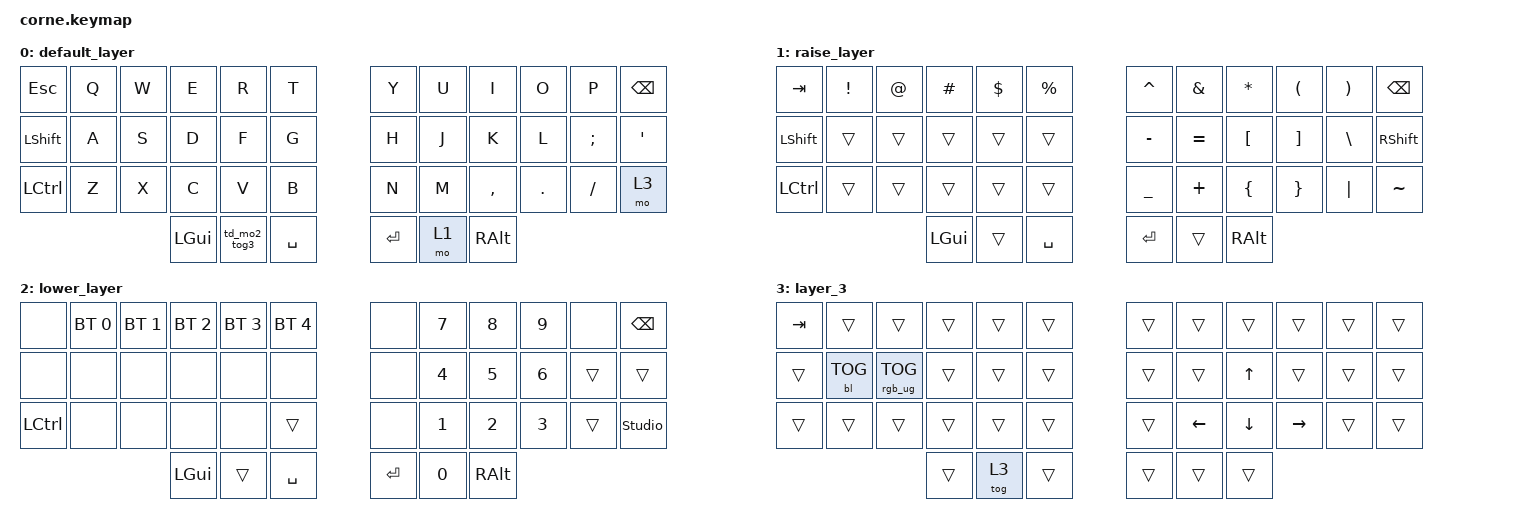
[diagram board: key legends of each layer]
/*
 * Copyright (c) 2020 The ZMK Contributors
 *
 * SPDX-License-Identifier: MIT
 */

#include <behaviors.dtsi>
#include <dt-bindings/zmk/backlight.h>
#include <dt-bindings/zmk/bt.h>
#include <dt-bindings/zmk/keys.h>
#include <dt-bindings/zmk/rgb.h>

/ {
    behaviors {
        /* * Custom Tap Dance:
         * Single Tap/Hold: Layer 2 (Numbers)
         * Double Tap: Toggle Layer 3 (RGB/Navegation)
         */
        td_mo2_tog3: tap_dance_layers {
            compatible = "zmk,behavior-tap-dance";
            label = "TD_LAYERS";
            #binding-cells = <0>;
            tapping-term-ms = <250>; // Increased slightly to make double-tapping easier
            // We use &sl (Sticky Layer) because &mo inside tap-dance 
            // usually breaks the 'hold' functionality.
            bindings = <&sl 2>, <&tog 3>;
        };
    };
    
    keymap {
        compatible = "zmk,keymap";

        default_layer {
            // -----------------------------------------------------------------------------------------
            // |  ESC |  Q  |  W  |  E  |  R  |  T  |   |  Y  |  U   |  I  |  O  |  P  | BSPC |
            // | SHFT |  A  |  S  |  D  |  F  |  G  |   |  H  |  J   |  K  |  L  |  ;  |  '   |
            // | CTRL |  Z  |  X  |  C  |  V  |  B  |   |  N  |  M   |  ,  |  .  |  /  | TD(3)|
            //                    | GUI | TD(2)| SPC |   | ENT | RSE  | ALT |

            bindings = <
&kp ESCAPE        &kp Q  &kp W  &kp E     &kp R  &kp T        &kp Y    &kp U  &kp I      &kp O    &kp P     &kp BSPC
&kp LEFT_SHIFT    &kp A  &kp S  &kp D     &kp F  &kp G        &kp H    &kp J  &kp K      &kp L    &kp SEMI  &kp SQT
&kp LEFT_CONTROL  &kp Z  &kp X  &kp C     &kp V  &kp B        &kp N    &kp M  &kp COMMA  &kp DOT  &kp FSLH  &mo 3
                                // The new behavior is applied here:
                                &kp LGUI  &td_mo2_tog3  &kp SPACE    &kp RET  &mo 1  &kp RALT
            >;
        };

        raise_layer {
            bindings = <
&kp TAB           &kp EXCL  &kp AT  &kp HASH  &kp DLLR  &kp PRCNT    &kp CARET  &kp AMPS   &kp ASTRK  &kp LPAR  &kp RPAR  &kp BSPC
&kp LEFT_SHIFT    &trans    &trans  &trans    &trans    &trans       &kp MINUS  &kp EQUAL  &kp LBKT   &kp RBKT  &kp BSLH  &kp RIGHT_SHIFT
&kp LEFT_CONTROL  &trans    &trans  &trans    &trans    &trans       &kp UNDER  &kp PLUS   &kp LBRC   &kp RBRC  &kp PIPE  &kp TILDE
                                    &kp LGUI  &trans    &kp SPACE    &kp RET    &trans     &kp RALT
            >;
        };

        lower_layer {
            bindings = <
&none             &bt BT_SEL 0  &bt BT_SEL 1  &bt BT_SEL 2  &bt BT_SEL 3  &bt BT_SEL 4    &none    &kp N7        &kp N8        &kp N9        &none   &kp BSPC
&none             &none         &none         &none         &none         &none           &none    &kp NUMBER_4  &kp N5        &kp NUMBER_6  &trans  &trans
&kp LEFT_CONTROL  &none         &none         &none         &none         &trans          &none    &kp NUMBER_1  &kp NUMBER_2  &kp NUMBER_3  &trans  &studio_unlock
                                              &kp LGUI      &trans        &kp SPACE       &kp RET  &kp N0        &kp RALT
            >;
        };

        layer_3 {
            // Important: Added &tog 3 here so you can exit the layer using the same key
            bindings = <
&kp TAB  &trans      &trans           &trans  &trans  &trans    &trans  &trans    &trans        &trans     &trans  &trans
&trans   &bl BL_TOG  &rgb_ug RGB_TOG  &trans  &trans  &trans    &trans  &trans    &kp UP_ARROW  &trans     &trans  &trans
&trans   &trans      &trans           &trans  &trans  &trans    &trans  &kp LEFT  &kp DOWN      &kp RIGHT  &trans  &trans
                                      // Toggle off Layer 3 to go back to default
                                      &trans  &tog 3  &trans    &trans  &trans    &trans
            >;
        };
    };
};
